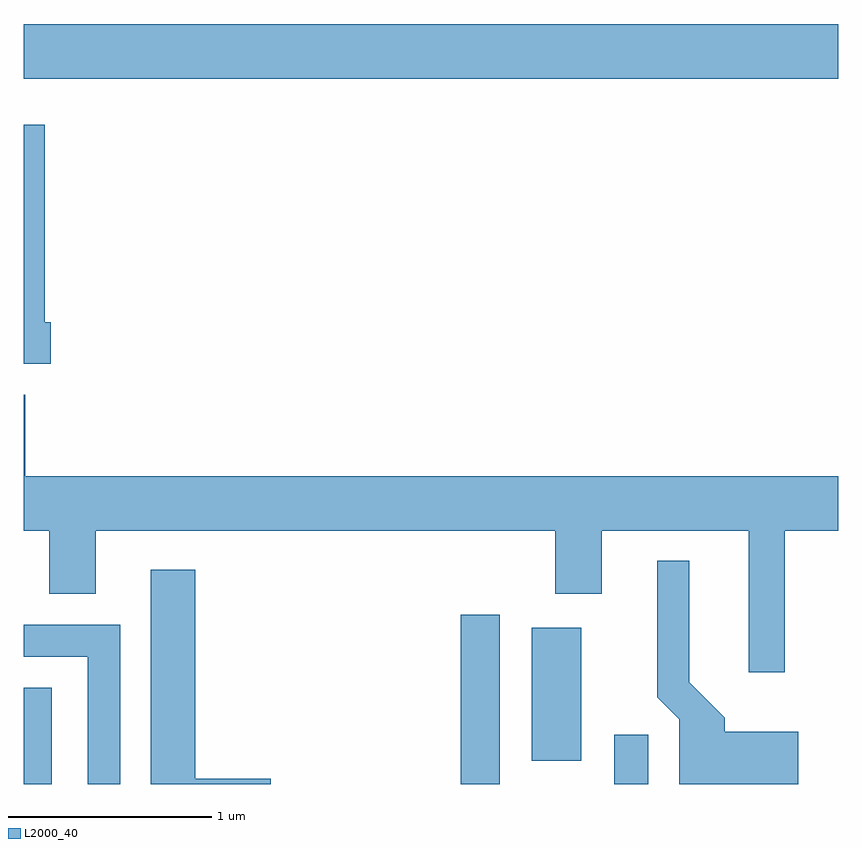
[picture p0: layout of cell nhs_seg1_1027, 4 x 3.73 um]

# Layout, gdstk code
import gdstk
lib = gdstk.Library(unit=1e-6, precision=1e-09)
def R(c, l, rs):  # rectangles x0, y0, x1, y1
    for r in rs: c.add(gdstk.rectangle(r[:2], r[2:], *l))
def P(c, l, *ps):  # polygons
    for p in ps: c.add(gdstk.Polygon(p, *l))
L2000_40 = (2000, 40)

nhs_seg1_1027 = lib.new_cell('nhs_seg1_1027')
R(nhs_seg1_1027, L2000_40, [(217.611,851.712,217.749,852.184), (219.756,851.712,219.949,852.544), (220.511,851.712,220.679,851.953), (220.106,851.826,220.349,852.479), (217.611,855.176,221.611,855.444)])
P(nhs_seg1_1027, L2000_40, [(217.744,853.979),(217.714,853.979),(217.714,854.949),(217.611,854.949),(217.611,853.776),(217.744,853.776)],
  [(221.349,852.956),(221.611,852.956),(221.611,853.224),(217.619,853.224),(217.619,853.624),(217.611,853.624),(217.611,852.956),(217.736,852.956),(217.736,852.646),(217.964,852.646),(217.964,852.956),(220.221,852.956),(220.221,852.646),(220.449,852.646),(220.449,852.956),(221.171,852.956),(221.171,852.261),(221.349,852.261)],
  [(221.414,851.969),(221.054,851.969),(221.054,852.037),(220.879,852.212),(220.879,852.808),(220.721,852.808),(220.721,852.139),(220.831,852.029),(220.831,851.712),(221.414,851.712)],
  [(218.824,851.739),(218.454,851.739),(218.454,852.764),(218.236,852.764),(218.236,851.712),(218.824,851.712)],
  [(218.084,852.494),(217.611,852.494),(217.611,852.336),(217.926,852.336),(217.926,851.712),(218.084,851.712)])

lib.write_gds('nhs_seg1_1027.gds')
